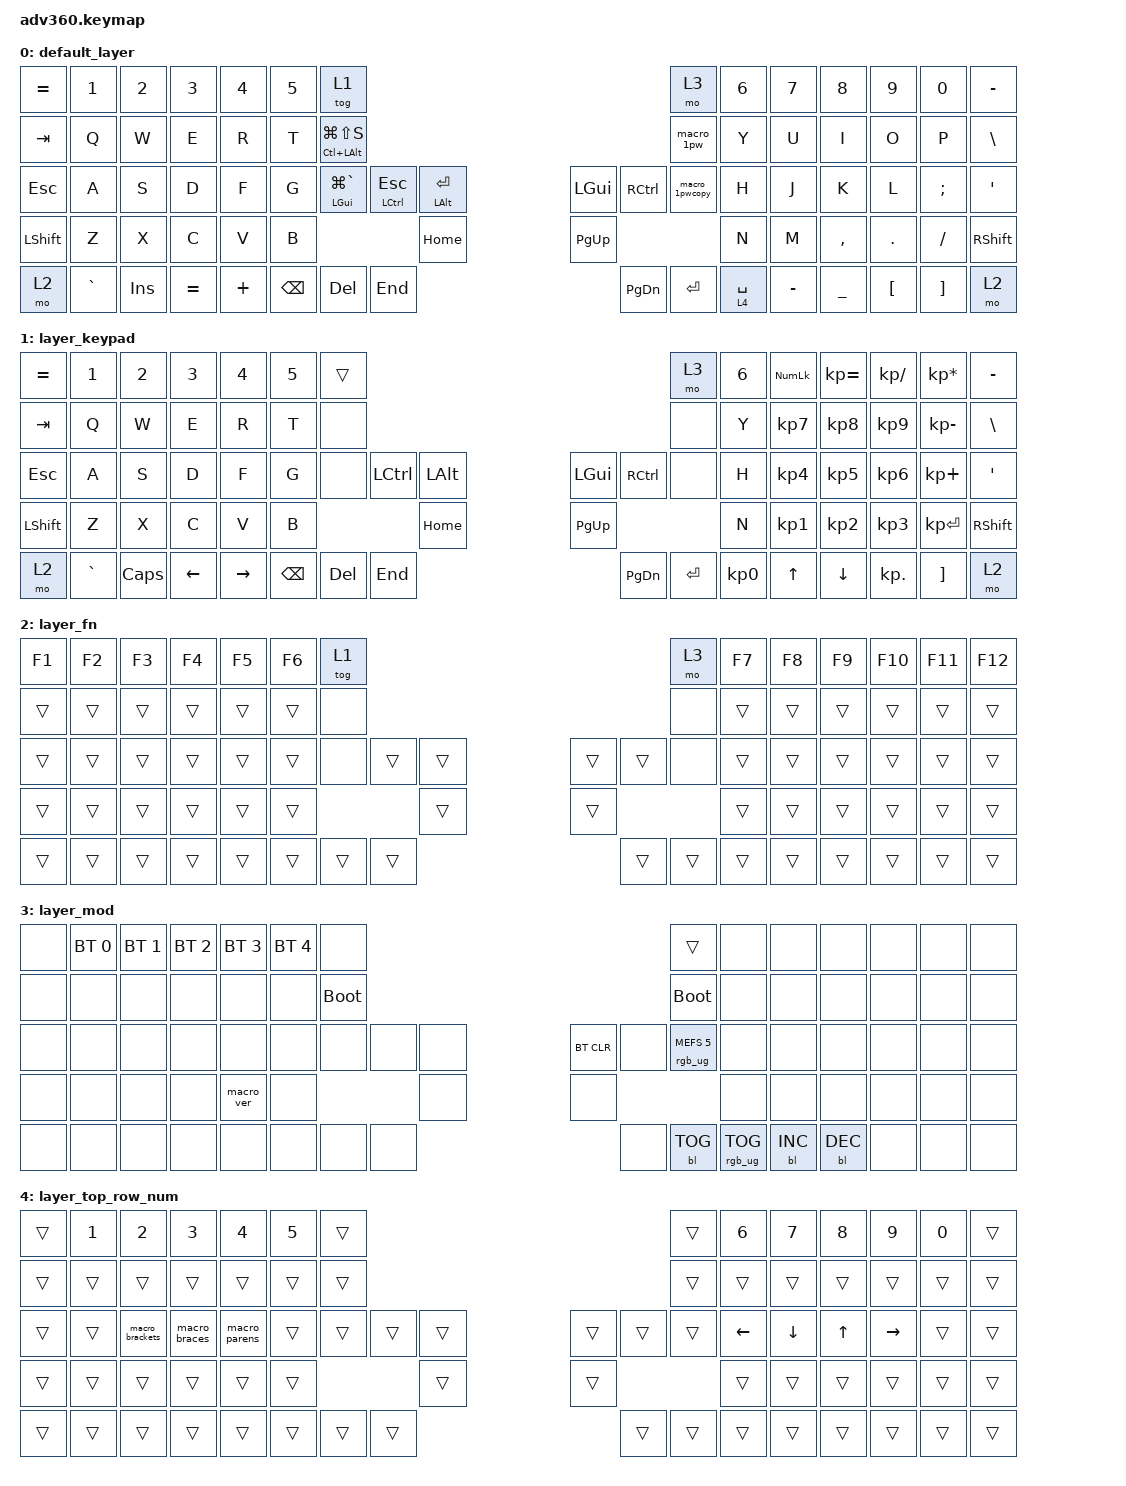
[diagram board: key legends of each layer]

/*
 * Copyright (c) 2020 The ZMK Contributors
 *
 * SPDX-License-Identifier: MIT
 */


/* THIS FILE WAS GENERATED!
 *
 * This file was generated automatically. You may or may not want to
 * edit it directly.
 */

#include <behaviors.dtsi>
#include <dt-bindings/zmk/keys.h>
#include <dt-bindings/zmk/bt.h>
#include <dt-bindings/zmk/rgb.h>
#include <dt-bindings/zmk/backlight.h>

&lt {
  tapping-term-ms = <300>;
};


/ {
  behaviors {
    #include "macros.dtsi"
    #include "version.dtsi"

    hm: homerow_mods {
        compatible = "zmk,behavior-hold-tap";
        label = "HOMEROW_MODS";
        #binding-cells = <2>;
        tapping-term-ms = <200>;
        quick_tap_ms = <175>;
        flavor = "tap-preferred";
        bindings = <&kp>, <&kp>;
    };
  };
  
    keymap {
        compatible = "zmk,keymap";


        default_layer {
            bindings = <
 &kp EQUAL     &kp N1   &kp N2    &kp N3     &kp N4  &kp N5         &tog 1                                                                                       &mo 3  &kp N6  &kp N7     &kp N8    &kp N9    &kp N0  &kp MINUS
   &kp TAB      &kp Q    &kp W     &kp E      &kp R   &kp T         &mt LC(LALT) LG(LS(S))                                                                 &macro_1pw   &kp Y   &kp U      &kp I     &kp O     &kp P   &kp BSLH
   &kp ESC      &kp A    &kp S     &kp D      &kp F   &kp G         &mt LGUI LG(GRAVE)  &mt LCTRL ESC  &mt LALT ENTER             &kp LGUI  &kp RCTRL  &macro_1pwcopy   &kp H   &kp J      &kp K     &kp L  &kp SEMI   &kp SQT
 &kp LSHFT      &kp Z    &kp X     &kp C      &kp V   &kp B                                             &kp HOME                  &kp PG_UP                              &kp N   &kp M  &kp COMMA   &kp DOT  &kp FSLH  &kp RSHFT
     &mo 2  &kp GRAVE  &kp INS  &kp EQUAL  &kp PLUS                                &kp BSPC    &kp DEL   &kp END                  &kp PG_DN  &kp ENTER       &lt 4 SPACE         &kp MINUS   &kp UNDERSCORE  &kp LBKT  &kp RBKT     &mo 2
            >;
        };

        layer_keypad {
            bindings = <
 &kp EQUAL     &kp N1    &kp N2    &kp N3     &kp N4  &kp N5              &trans                                                                 &mo 3  &kp N6  &kp KP_NUM  &kp KP_EQUAL  &kp KP_DIVIDE  &kp KP_MULTIPLY  &kp MINUS
   &kp TAB      &kp Q     &kp W     &kp E      &kp R   &kp T               &none                                                                 &none   &kp Y   &kp KP_N7     &kp KP_N8      &kp KP_N9     &kp KP_MINUS   &kp BSLH
   &kp ESC      &kp A     &kp S     &kp D      &kp F   &kp G               &none  &kp LCTRL  &kp LALT                   &kp LGUI  &kp RCTRL      &none   &kp H   &kp KP_N4     &kp KP_N5      &kp KP_N6      &kp KP_PLUS    &kp SQT
 &kp LSHFT      &kp Z     &kp X     &kp C      &kp V   &kp B                                 &kp HOME                  &kp PG_UP                         &kp N   &kp KP_N1     &kp KP_N2      &kp KP_N3     &kp KP_ENTER  &kp RSHFT
     &mo 2  &kp GRAVE  &kp CAPS  &kp LEFT  &kp RIGHT                    &kp BSPC    &kp DEL   &kp END                  &kp PG_DN  &kp ENTER  &kp KP_N0              &kp UP      &kp DOWN     &kp KP_DOT         &kp RBKT      &mo 2
            >;
        };

        layer_fn {
            bindings = <
 &kp F1  &kp F2  &kp F3  &kp F4  &kp F5  &kp F6            &tog 1                                                   &mo 3  &kp F7  &kp F8  &kp F9  &kp F10  &kp F11  &kp F12
 &trans  &trans  &trans  &trans  &trans  &trans             &none                                                   &none  &trans  &trans  &trans   &trans   &trans   &trans
 &trans  &trans  &trans  &trans  &trans  &trans             &none  &trans  &trans                  &trans  &trans   &none  &trans  &trans  &trans   &trans   &trans   &trans
 &trans  &trans  &trans  &trans  &trans  &trans                            &trans                  &trans                  &trans  &trans  &trans   &trans   &trans   &trans
 &trans  &trans  &trans  &trans  &trans                    &trans  &trans  &trans                  &trans  &trans  &trans          &trans  &trans   &trans   &trans   &trans
            >;
        };

        layer_mod {
            bindings = <
  &none  &bt BT_SEL 0  &bt BT_SEL 1  &bt BT_SEL 2  &bt BT_SEL 3  &bt BT_SEL 4                  &none                                                                          &trans   &none       &none       &none   &none   &none   &none
  &none         &none         &none         &none         &none         &none            &bootloader                                                                     &bootloader   &none       &none       &none   &none   &none   &none
  &none         &none         &none         &none         &none         &none                  &none   &none   &none                  &bt BT_CLR       &none  &rgb_ug RGB_MEFS_CMD 5   &none       &none       &none   &none   &none   &none
  &none         &none         &none         &none    &macro_ver         &none                                  &none                       &none                                       &none       &none       &none   &none   &none   &none
  &none         &none         &none         &none         &none                                &none   &none   &none                       &none  &bl BL_TOG         &rgb_ug RGB_TOG          &bl BL_INC  &bl BL_DEC   &none   &none   &none
            >;
        };

        layer_top_row_num {
            bindings = <
 &trans  &kp NUMBER_1  &kp NUMBER_2  &kp NUMBER_3  &kp NUMBER_4  &kp NUMBER_5            &trans                                                  &trans  &kp NUMBER_6  &kp NUMBER_7  &kp NUMBER_8  &kp NUMBER_9  &kp NUMBER_0  &trans
 &trans        &trans        &trans        &trans        &trans        &trans            &trans                                                  &trans        &trans        &trans        &trans        &trans        &trans  &trans
 &trans        &trans        &macro_brackets &macro_braces &macro_parens &trans          &trans  &trans  &trans                  &trans  &trans  &trans        &kp LEFT      &kp DOWN      &kp UP        &kp RIGHT     &trans  &trans
 &trans        &trans       &trans         &trans        &trans        &trans                            &trans                  &trans                        &trans        &trans        &trans        &trans        &trans  &trans
 &trans        &trans        &trans        &trans        &trans                          &trans  &trans  &trans                  &trans  &trans  &trans                      &trans        &trans        &trans        &trans  &trans
            >;
        };

    };
};
